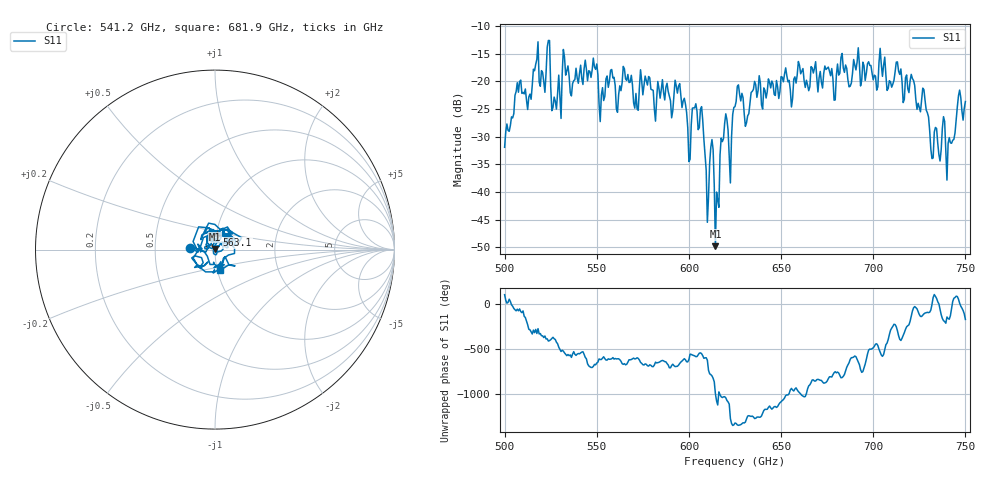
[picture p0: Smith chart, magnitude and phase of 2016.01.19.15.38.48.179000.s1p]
!Created with skrf (http://scikit-rf.org).
# GHz S RI R 50.0
!freq ReS11 ImS11
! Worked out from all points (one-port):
!   401 points, 500 GHz to 750 GHz, reference 50 ohm
!   lowest |S11| = -49.8 dB at 614.4 GHz (marker M1), VSWR 1.01, Z = 50.1 + j0.315 ohm
!   |S11| at or under -10 dB: start of sweep to end of sweep
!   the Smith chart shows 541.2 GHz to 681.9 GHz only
!   S11 on the Smith chart (normalised r, x): 541.2 GHz: 0.75, +0.02; 563.1 GHz: 1.01, +0.17; 681.9 GHz: 1.03, -0.24
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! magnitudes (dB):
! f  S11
! 500 GHz  -31.9
! 516.9 GHz  -16.9
! 523.8 GHz  -12.6
! 526.9 GHz  -22.8
! 531.2 GHz  -18.6
! 541.2 GHz  -17.1
! 562.5 GHz  -20.8
! 563.1 GHz  -21.7
! 593.8 GHz  -22.1
! 600 GHz  -34.5
! 603.1 GHz  -24.8
! 606.9 GHz  -24.6
! 609.4 GHz  -36.1
! 612.5 GHz  -30.5
! 614.4 GHz  -49.8
! 615.6 GHz  -41.5
! 618.8 GHz  -30.4
! 622.5 GHz  -38.4
! 625 GHz  -24.6
! 656.2 GHz  -23.1
! 681.9 GHz  -18.5
! 687.5 GHz  -20.9
! 718.8 GHz  -21.3
! 728.1 GHz  -23.5
! 731.9 GHz  -34.0
! 740.6 GHz  -31.2
! 746.2 GHz  -22.6
! 750 GHz  -23.6
